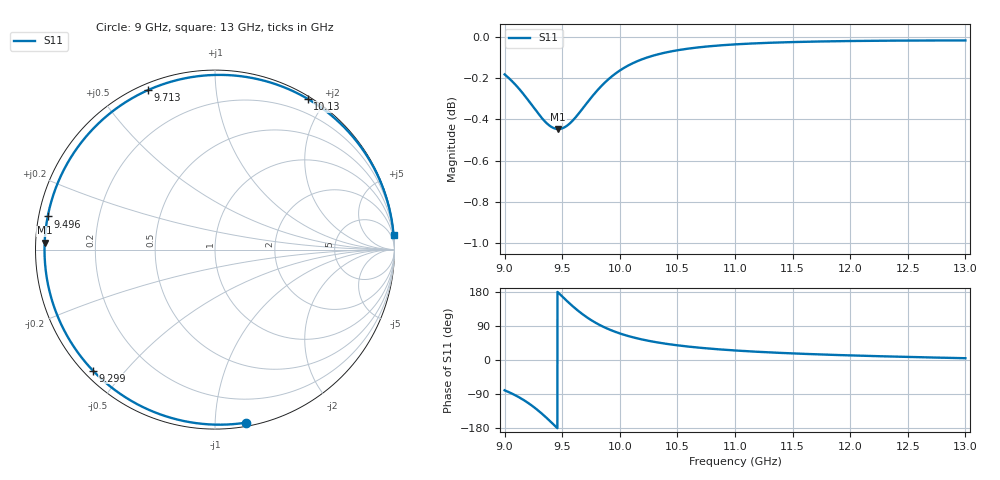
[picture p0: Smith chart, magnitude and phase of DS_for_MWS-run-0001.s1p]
! TOUCHSTONE file generated by CST DESIGN STUDIO
! Date and time: Tue Feb  4 13:48:41 2025
! Project name: C:\Work\MatlabApps\UnitCellOptimizationMatlab\CST\unitcell.cst
! Tree item: Tasks\Sweep1\SPara1\S-Parameters
! Header version: 2024
! Port assignment regex: !\s*Touchstone port\s*([0-9]+)\s*=\s*(CST MWS port|CST DES external port|CST DES block port)\s*(.+)\s* \(\"(.*)\"\)(\s*mode\s*([0-9]+))?.*
! Touchstone port assignment:
! Touchstone port 1 = CST DES external port 1 ("")
# GHz S MA R 50
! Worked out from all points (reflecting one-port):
!   4001 points, 9 GHz to 13 GHz, reference 50 ohm
!   lowest |S11| = -0.4 dB at 9.466 GHz (marker M1), VSWR 38.93, Z = 1.28 + j1.02 ohm
!   phase of S11 starts at -80 deg and turns -275 deg over the sweep
!   S11 on the Smith chart (normalised r, x): 9 GHz: 0.03, -1.19; 9.299 GHz: 0.03, -0.41; 9.496 GHz: 0.03, +0.10; 9.713 GHz: 0.03, +0.66; 10.13 GHz: 0.03, +1.79; 13 GHz: 1, +24
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9  0.9794 -80.0
9.072  0.9752 -89.9
9.168  0.9683 -106.1
9.236  0.9628 -120.2
9.299  0.9576 -135.2
9.343  0.9544 -146.8
9.389  0.9518 -159.7
9.428  0.9504 -171.1
9.466  0.9499 177.7
9.496  0.9502 168.8
9.5  0.9503 167.6
9.551  0.9521 152.9
9.609  0.9556 137.2
9.66  0.9595 124.7
9.713  0.9637 112.9
9.77  0.9681 101.8
9.833  0.9726 91.2
9.915  0.9775 79.8
10  0.9815 70.1
10.134  0.9862 58.4
10.299  0.9899 47.8
10.5  0.9927 38.8
10.722  0.9946 31.6
11  0.996 25.2
11.5  0.9973 17.4
12  0.9979 12.1
12.5  0.9981 8.1
13  0.9982 4.7
